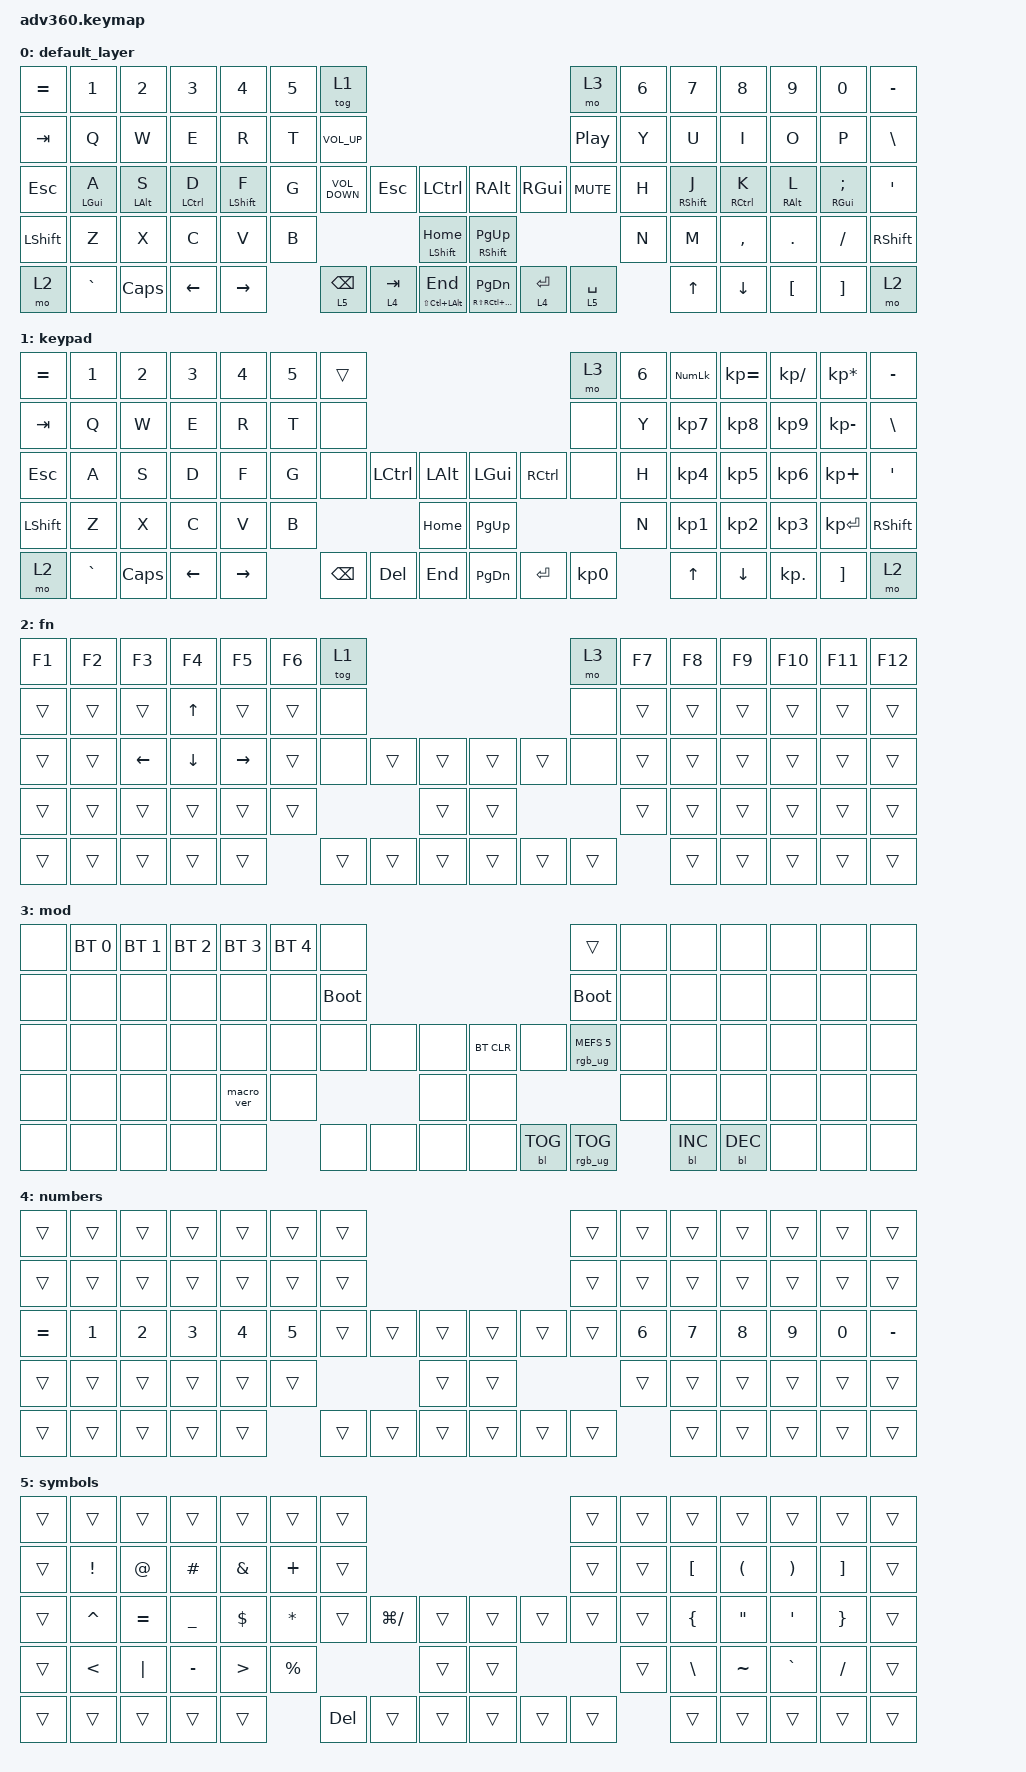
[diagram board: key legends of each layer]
#include <behaviors.dtsi>
#include <dt-bindings/zmk/backlight.h>
#include <dt-bindings/zmk/bt.h>
#include <dt-bindings/zmk/keys.h>
#include <dt-bindings/zmk/rgb.h>

&lt { quick-tap-ms = <200>; };

/ {
    behaviors {
        #include "macros.dtsi"
      #include "version.dtsi"
      #ifndef VERSION_MACRO

        macro_ver: macro_ver {
            compatible = "zmk,behavior-macro";
            label = "macro_version";
            #binding-cells = <0>;
            bindings = <&kp RET>;
        };

        shifted: shifted {
            compatible = "zmk,behavior-macro";
            #binding-cells = <0>;
            bindings = <>;
            label = "SHIFTED";
        };

        #endif

        hm: homerow_mods {
            compatible = "zmk,behavior-hold-tap";
            label = "HOMEROW_MODS";
            #binding-cells = <2>;
            tapping-term-ms = <200>;
            quick_tap_ms = <175>;
            flavor = "tap-preferred";
            bindings = <&kp>, <&kp>;
        };

        hmr: hmr {
            compatible = "zmk,behavior-hold-tap";
            label = "HMR";
            #binding-cells = <2>;
            tapping-term-ms = <200>;
            quick_tap_ms = <200>;
            flavor = "tap-preferred";
            bindings = <&kp>, <&kp>;

            hold-trigger-key-positions = <0 1 2 3 4 0 1 2 3 4 5 6 14 15 16 17 18 19 20 28 29 30 31 32 33 34 46 47 48 49 50 51 60 61 62 63 64 65 35 36 52 67 66>;
            quick-tap-ms = <200>;
        };

        hml: hml {
            compatible = "zmk,behavior-hold-tap";
            label = "HML";
            #binding-cells = <2>;
            tapping-term-ms = <200>;
            quick_tap_ms = <200>;
            flavor = "tap-preferred";
            bindings = <&kp>, <&kp>;

            hold-trigger-key-positions = <7 8 9 10 11 12 13 21 22 23 24 25 26 27 37 38 39 40 41 42 43 44 45 53 54 55 56 57 58 59 68 69 70 71 72 73 74 75>;
            quick-tap-ms = <200>;
        };

        backspace_del: backspace_del {
            compatible = "zmk,behavior-mod-morph";
            label = "BACKSPACE_DEL";
            bindings = <&kp BACKSPACE>, <&kp DELETE>;

            #binding-cells = <0>;
            mods = <(MOD_LSFT|MOD_RSFT)>;
        };
    };

    macros {
    };

    keymap {
        compatible = "zmk,keymap";

        default_layer {
            bindings = <
&kp EQUAL  &kp N1           &kp N2           &kp N3               &kp N4             &kp N5  &tog 1                                                                                                      &mo 3             &kp N6  &kp N7              &kp N8                &kp N9            &kp N0               &kp MINUS
&kp TAB    &kp Q            &kp W            &kp E                &kp R              &kp T   &kp C_VOLUME_UP                                                                                             &kp C_PLAY_PAUSE  &kp Y   &kp U               &kp I                 &kp O             &kp P                &kp BSLH
&kp ESC    &hml LEFT_GUI A  &hml LEFT_ALT S  &hml LEFT_CONTROL D  &hml LEFT_SHIFT F  &kp G   &kp C_VOLUME_DOWN  &kp ESC    &kp LEFT_CONTROL              &kp RIGHT_ALT                    &kp RIGHT_GUI  &kp C_MUTE        &kp H   &hmr RIGHT_SHIFT J  &hmr RIGHT_CONTROL K  &hmr RIGHT_ALT L  &hmr RIGHT_GUI SEMI  &kp SQT
&kp LSHFT  &kp Z            &kp X            &kp C                &kp V              &kp B                                 &mt LEFT_SHIFT HOME           &mt RIGHT_SHIFT PG_UP                                             &kp N   &kp M               &kp COMMA             &kp DOT           &kp FSLH             &kp RSHFT
&mo 2      &kp GRAVE        &kp CAPS         &kp LEFT             &kp RIGHT                  &lt 5 BACKSPACE    &lt 4 TAB  &mt LS(LC(LEFT_ALT)) END      &mt RS(RC(RG(RIGHT_ALT))) PG_DN  &lt 4 ENTER    &lt 5 SPACE               &kp UP              &kp DOWN              &kp LBKT          &kp RBKT             &mo 2
            >;
        };

        keypad {
            bindings = <
&kp EQUAL  &kp N1     &kp N2    &kp N3    &kp N4     &kp N5  &trans                                                   &mo 3      &kp N6  &kp KP_NUM  &kp KP_EQUAL  &kp KP_DIVIDE  &kp KP_MULTIPLY  &kp MINUS
&kp TAB    &kp Q      &kp W     &kp E     &kp R      &kp T   &none                                                    &none      &kp Y   &kp KP_N7   &kp KP_N8     &kp KP_N9      &kp KP_MINUS     &kp BSLH
&kp ESC    &kp A      &kp S     &kp D     &kp F      &kp G   &none     &kp LCTRL  &kp LALT      &kp LGUI   &kp RCTRL  &none      &kp H   &kp KP_N4   &kp KP_N5     &kp KP_N6      &kp KP_PLUS      &kp SQT
&kp LSHFT  &kp Z      &kp X     &kp C     &kp V      &kp B                        &kp HOME      &kp PG_UP                        &kp N   &kp KP_N1   &kp KP_N2     &kp KP_N3      &kp KP_ENTER     &kp RSHFT
&mo 2      &kp GRAVE  &kp CAPS  &kp LEFT  &kp RIGHT          &kp BSPC  &kp DEL    &kp END       &kp PG_DN  &kp ENTER  &kp KP_N0          &kp UP      &kp DOWN      &kp KP_DOT     &kp RBKT         &mo 2
            >;
        };

        fn {
            bindings = <
&kp F1  &kp F2  &kp F3          &kp F4          &kp F5           &kp F6  &tog 1                                      &mo 3   &kp F7  &kp F8  &kp F9  &kp F10  &kp F11  &kp F12
&trans  &trans  &trans          &kp UP_ARROW    &trans           &trans  &none                                       &none   &trans  &trans  &trans  &trans   &trans   &trans
&trans  &trans  &kp LEFT_ARROW  &kp DOWN_ARROW  &kp RIGHT_ARROW  &trans  &none   &trans  &trans      &trans  &trans  &none   &trans  &trans  &trans  &trans   &trans   &trans
&trans  &trans  &trans          &trans          &trans           &trans                  &trans      &trans                  &trans  &trans  &trans  &trans   &trans   &trans
&trans  &trans  &trans          &trans          &trans                   &trans  &trans  &trans      &trans  &trans  &trans          &trans  &trans  &trans   &trans   &trans
            >;
        };

        mod {
            bindings = <
&none  &bt BT_SEL 0  &bt BT_SEL 1  &bt BT_SEL 2  &bt BT_SEL 3  &bt BT_SEL 4  &none                                                  &trans                  &none  &none       &none       &none  &none  &none
&none  &none         &none         &none         &none         &none         &bootloader                                            &bootloader             &none  &none       &none       &none  &none  &none
&none  &none         &none         &none         &none         &none         &none        &none  &none      &bt BT_CLR  &none       &rgb_ug RGB_MEFS_CMD 5  &none  &none       &none       &none  &none  &none
&none  &none         &none         &none         &macro_ver    &none                             &none      &none                                           &none  &none       &none       &none  &none  &none
&none  &none         &none         &none         &none                       &none        &none  &none      &none       &bl BL_TOG  &rgb_ug RGB_TOG                &bl BL_INC  &bl BL_DEC  &none  &none  &none
            >;
        };

        numbers {
            bindings = <
&trans     &trans        &trans        &trans        &trans        &trans  &trans                                      &trans  &trans        &trans  &trans  &trans  &trans  &trans
&trans     &trans        &trans        &trans        &trans        &trans  &trans                                      &trans  &trans        &trans  &trans  &trans  &trans  &trans
&kp EQUAL  &kp NUMBER_1  &kp NUMBER_2  &kp NUMBER_3  &kp NUMBER_4  &kp N5  &trans  &trans  &trans      &trans  &trans  &trans  &kp NUMBER_6  &kp N7  &kp N8  &kp N9  &kp N0  &kp MINUS
&trans     &trans        &trans        &trans        &trans        &trans                  &trans      &trans                  &trans        &trans  &trans  &trans  &trans  &trans
&trans     &trans        &trans        &trans        &trans                &trans  &trans  &trans      &trans  &trans  &trans                &trans  &trans  &trans  &trans  &trans
            >;
        };

        symbols {
            bindings = <
&trans  &trans           &trans       &trans          &trans            &trans        &trans                                                 &trans  &trans  &trans            &trans                &trans                 &trans             &trans
&trans  &kp EXCLAMATION  &kp AT_SIGN  &kp HASH        &kp AMPERSAND     &kp PLUS      &trans                                                 &trans  &trans  &kp LEFT_BRACKET  &kp LEFT_PARENTHESIS  &kp RIGHT_PARENTHESIS  &kp RIGHT_BRACKET  &trans
&trans  &kp CARET        &kp EQUAL    &kp UNDERSCORE  &kp DOLLAR        &kp ASTERISK  &trans      &kp LG(SLASH)  &trans      &trans  &trans  &trans  &trans  &kp LEFT_BRACE    &kp DOUBLE_QUOTES     &kp SQT                &kp RIGHT_BRACE    &trans
&trans  &kp LESS_THAN    &kp PIPE     &kp MINUS       &kp GREATER_THAN  &kp PERCENT                              &trans      &trans                  &trans  &kp BACKSLASH     &kp TILDE             &kp GRAVE              &kp SLASH          &trans
&trans  &trans           &trans       &trans          &trans                          &kp DELETE  &trans         &trans      &trans  &trans  &trans          &trans            &trans                &trans                 &trans             &trans
            >;
        };
    };
};
